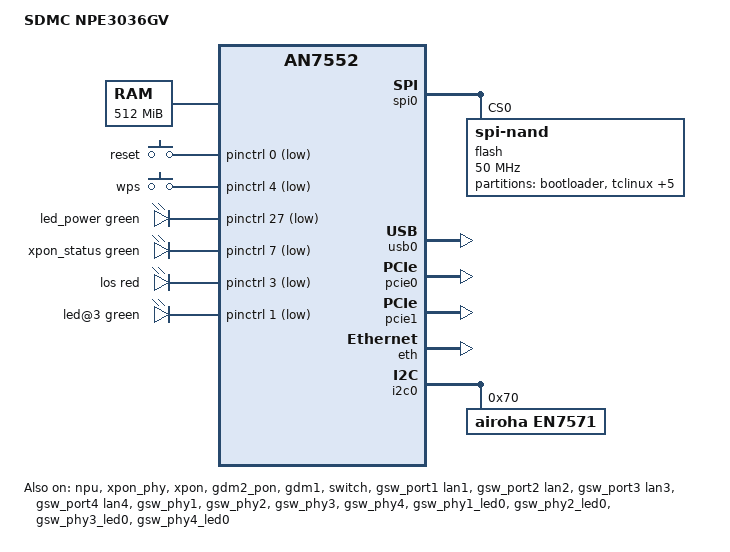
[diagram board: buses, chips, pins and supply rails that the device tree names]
/* SPDX-License-Identifier: GPL-2.0-or-later OR MIT */
/dts-v1/;

#include <dt-bindings/leds/common.h>
#include <dt-bindings/gpio/gpio.h>
#include <dt-bindings/input/input.h>
#include "an7552.dtsi"

/ {
	model = "SDMC NPE3036GV";
	compatible = "sdmc,npe3036gv", "airoha,an7552";

	chosen {
		bootargs = "console=ttyS0,115200 earlycon";
		bootargs-append = "rootfstype=squashfs";
		stdout-path = "serial0:115200n8";
		linux,usable-memory-range = <0x80200000 0x1fe00000>;
	};

	aliases {
		serial0 = &uart1;
		led-boot = &led_power;
		led-failsafe = &led_power;
		led-upgrade = &led_power;
		led-running = &led_power;
	};

	memory@80000000 {
		device_type = "memory";
		reg = <0x80000000 0x20000000>;
	};

	keys {
		compatible = "gpio-keys-polled";
		poll-interval = <100>;

		reset {
			label = "reset";
			linux,code = <KEY_RESTART>;
			gpios = <&pinctrl 0 GPIO_ACTIVE_LOW>;
			debounce-interval = <60>;
		};

		wps {
			label = "wps";
			linux,code = <KEY_WPS_BUTTON>;
			gpios = <&pinctrl 4 GPIO_ACTIVE_LOW>;
			debounce-interval = <60>;
		};
	};

	leds {
		compatible = "gpio-leds";

		led_power: led@0 {
			color = <LED_COLOR_ID_GREEN>;
			function = LED_FUNCTION_STATUS;
			function-enumerator = <0>;
			gpios = <&pinctrl 27 GPIO_ACTIVE_LOW>;
		};

		xpon_status: led@1 {
			color = <LED_COLOR_ID_GREEN>;
			function = LED_FUNCTION_STATUS;
			function-enumerator = <1>;
			gpios = <&pinctrl 7 GPIO_ACTIVE_LOW>;
		};

		los: led@2 {
			color = <LED_COLOR_ID_RED>;
			function = LED_FUNCTION_STATUS;
			function-enumerator = <2>;
			gpios = <&pinctrl 3 GPIO_ACTIVE_LOW>;
		};

		led@3 {
			color = <LED_COLOR_ID_GREEN>;
			function = LED_FUNCTION_WAN_ONLINE;
			function-enumerator = <3>;
			gpios = <&pinctrl 1 GPIO_ACTIVE_LOW>;
		};
	};
};

&spi0 {
	flash@0 {
		reg = <0>;
		compatible = "spi-nand";
		spi-max-frequency = <50000000>;
		spi-tx-bus-width = <1>;
		spi-rx-bus-width = <2>;

		partitions {
			compatible = "fixed-partitions";
			#address-cells = <1>;
			#size-cells = <1>;

			partition@0 {
				label = "bootloader";
				reg = <0x00000000 0x00080000>;
				read-only;

				nvmem-layout {
					compatible = "fixed-layout";
					#address-cells = <1>;
					#size-cells = <1>;

					macaddr: macaddr@7c2d0 {
						compatible = "mac-base";
						reg = <0x7c2d0 0x11>;
						#nvmem-cell-cells = <1>;
					};
				};
			};

			partition@80000 {
				label = "tclinux";
				reg = <0x00080000 0x03200000>;
				compatible = "denx,fit-image";
			};

			partition@3280000 {
				label = "tclinux_slave";
				reg = <0x03280000 0x03200000>;
				compatible = "denx,fit-image";
			};

			partition@6480000 {
				label = "rootfs_data";
				reg = <0x06480000 0x03200000>;
			};

			partition@9680000 {
				label = "defaults";
				reg = <0x09680000 0x00800000>;
				read-only;
			};

			partition@9e80000 {
				label = "container";
				reg = <0x09e80000 0x01e00000>;
				read-only;
			};

			partition@dc80000 {
				label = "art";
				reg = <0x0dc80000 0x00380000>;
				read-only;

				nvmem-layout {
					compatible = "fixed-layout";
					#address-cells = <1>;
					#size-cells = <1>;

					eeprom: eeprom@2c0000 {
						reg = <0x2c0000 0x1000>;
					};

					en7571_bob: en7571_bob@260000 {
						reg = <0x260000 0x200>;
					};
				};
			};
		};
	};
};

&usb0 {
	status = "okay";
};

&pcie0 {
	status = "okay";
};

&pcie1 {
	status = "okay";
};

&pcie1_slot1 {
	reg = <0x00000800 0 0 0 0>;
	#address-cells = <3>;
	#size-cells = <2>;

	mt7916@0,0 {
		reg = <0x0000 0 0 0 0>;
		#address-cells = <1>;
		#size-cells = <0>;
		nvmem-cells = <&eeprom>;
		nvmem-cell-names = "eeprom";
		airoha,npu = <&npu>;
		airoha,eth = <&eth>;

		band@0 {
			reg = <0>;
			nvmem-cells = <&macaddr 2>;
			nvmem-cell-names = "mac-address";
		};

		band@1 {
			reg = <1>;
			nvmem-cells = <&macaddr 3>;
			nvmem-cell-names = "mac-address";
		};
	};
};

&npu {
	status = "okay";

	firmware-names = "rv32", "data";
	firmware-name = "airoha/an7552_mt7916_npu_rv32.bin",
			"airoha/an7552_mt7916_npu_data.bin";
};

&eth {
	status = "okay";
};

&i2c0 {
	status = "okay";

	en7571: lddla@70 {
		compatible = "airoha,en7571";
		reg = <0x70>;

		nvmem-cells = <&en7571_bob>;
		nvmem-cell-names = "calibration";

		#optical-frontend-cells = <0>;
	};
};

&xpon_phy {
	status = "okay";
};

&xpon {
	status = "okay";

	airoha,gpon-serial-from-mac;
	omci-vendor-id = "SDMC";

	optical-frontends = <&en7571>;
	optical-frontend-names = "pon";

	leds = <&xpon_status>, <&los>;
	led-names = "pon", "los";
};	

&gdm2_pon {
	status = "okay";

	nvmem-cells = <&macaddr 0>;
	nvmem-cell-names = "mac-address";

	openwrt,netdev-name = "pon0";
};

&gdm1 {
	status = "okay";
	nvmem-cells = <&macaddr 0>;
	nvmem-cell-names = "mac-address";
};

&switch {
	status = "okay";
};

&gsw_port1 {
	label = "lan1";
	status = "okay";
};

&gsw_port2 {
	label = "lan2";
	status = "okay";
};

&gsw_port3 {
	label = "lan3";
	status = "okay";
};

&gsw_port4 {
	label = "lan4";
	status = "okay";
};

&gsw_port6 {
	nvmem-cells = <&macaddr 0>;
	nvmem-cell-names = "mac-address";
};

&gsw_phy1 {
	status = "okay";
};

&gsw_phy2 {
	status = "okay";
};

&gsw_phy3 {
	status = "okay";
};

&gsw_phy4 {
	status = "okay";
};

&gsw_phy1_led0 {
    status = "okay";
    color = <LED_COLOR_ID_GREEN>;
};

&gsw_phy2_led0 {
    status = "okay";
    color = <LED_COLOR_ID_GREEN>;
};

&gsw_phy3_led0 {
    status = "okay";
    color = <LED_COLOR_ID_GREEN>;
};

&gsw_phy4_led0 {
    status = "okay";
    color = <LED_COLOR_ID_GREEN>;
};
